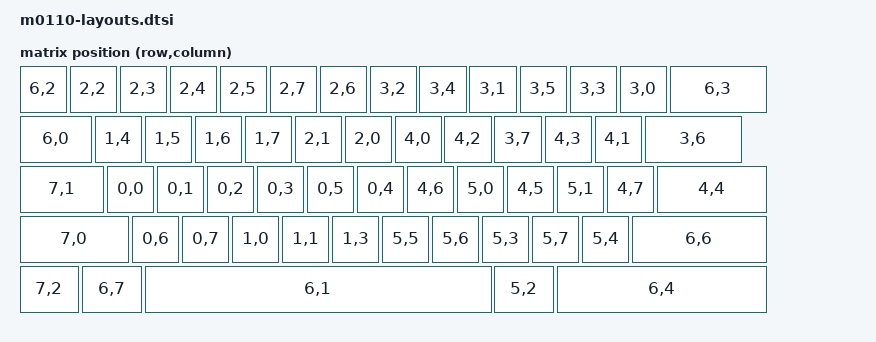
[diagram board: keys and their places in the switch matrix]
/*
 * Apple M0110 physical layout and matrix transform for ZMK Studio.
 *
 * 57 keys mapped from the M0110's scancodes to physical positions. The
 * keyboard reports 7-bit codes, and the driver spreads them over a 14-row,
 * 8-column virtual matrix; this transform picks out the main block, which is
 * everything a plain M0110 can send. 
 *
 * +---+---+---+---+---+---+---+---+---+---+---+---+---+-----+
 * | ` | 1 | 2 | 3 | 4 | 5 | 6 | 7 | 8 | 9 | 0 | - | = | bsp |
 * +---+---+---+---+---+---+---+---+---+---+---+---+---+-----+
 * |  tab  | q | w | e | r | t | y | u | i | o | p | [ | ]   |
 * +-------+---+---+---+---+---+---+---+---+---+---+---+-----+
 * |  caps  | a | s | d | f | g | h | j | k | l | ; | ' |ret |
 * +--------+---+---+---+---+---+---+---+---+---+---+---+----+
 * |  shift   | z | x | c | v | b | n | m | , | . | / | shift|
 * +----------+---+---+---+---+---+---+---+---+---+---+------+
 * | opt | cmd |          space          |  \  |    enter    |
 * +-----+-----+-------------------------+-----+-------------+
 */

#include <physical_layouts.dtsi>
#include <dt-bindings/zmk/matrix_transform.h>

/ {
    /*
     * Scancode positions come from the tables in Apple's Technical Information
     * for the Macintosh 128K/512K. RC(row, column) is scancode = row * 8 +
     * column.
     *
     * Both shift keys report 0x38 and are electrically the same.
     */
    m0110_transform: m0110_transform {
        compatible = "zmk,matrix-transform";
        rows = <14>;
        columns = <8>;

        map = <
            /* Row 0: `  1  2  3  4  5  6  7  8  9  0  -  =  Bksp */
            RC(6,2) RC(2,2) RC(2,3) RC(2,4) RC(2,5) RC(2,7) RC(2,6) RC(3,2) RC(3,4) RC(3,1) RC(3,5) RC(3,3) RC(3,0) RC(6,3)
            /* Row 1: Tab Q  W  E  R  T  Y  U  I  O  P  [  ] */
            RC(6,0) RC(1,4) RC(1,5) RC(1,6) RC(1,7) RC(2,1) RC(2,0) RC(4,0) RC(4,2) RC(3,7) RC(4,3) RC(4,1) RC(3,6)
            /* Row 2: Caps A  S  D  F  G  H  J  K  L  ;  '  Ret */
            RC(7,1) RC(0,0) RC(0,1) RC(0,2) RC(0,3) RC(0,5) RC(0,4) RC(4,6) RC(5,0) RC(4,5) RC(5,1) RC(4,7) RC(4,4)
            /* Row 3: LSh Z  X  C  V  B  N  M  ,  .  /  RSh */
            RC(7,0) RC(0,6) RC(0,7) RC(1,0) RC(1,1) RC(1,3) RC(5,5) RC(5,6) RC(5,3) RC(5,7) RC(5,4) RC(6,6)
            /* Row 4: Opt Cmd Space  \  Enter */
            RC(7,2) RC(6,7) RC(6,1) RC(5,2) RC(6,4)
        >;
    };

    m0110_layout: m0110_layout {
        compatible = "zmk,physical-layout";
        display-name = "M0110";
        transform = <&m0110_transform>;

        keys
            // Row 0: number row (14 keys)
            = <&key_physical_attrs 100 100    0    0  0 0 0>   // `
            , <&key_physical_attrs 100 100  100    0  0 0 0>   // 1
            , <&key_physical_attrs 100 100  200    0  0 0 0>   // 2
            , <&key_physical_attrs 100 100  300    0  0 0 0>   // 3
            , <&key_physical_attrs 100 100  400    0  0 0 0>   // 4
            , <&key_physical_attrs 100 100  500    0  0 0 0>   // 5
            , <&key_physical_attrs 100 100  600    0  0 0 0>   // 6
            , <&key_physical_attrs 100 100  700    0  0 0 0>   // 7
            , <&key_physical_attrs 100 100  800    0  0 0 0>   // 8
            , <&key_physical_attrs 100 100  900    0  0 0 0>   // 9
            , <&key_physical_attrs 100 100 1000    0  0 0 0>   // 0
            , <&key_physical_attrs 100 100 1100    0  0 0 0>   // -
            , <&key_physical_attrs 100 100 1200    0  0 0 0>   // =
            , <&key_physical_attrs 200 100 1300    0  0 0 0>   // Bksp

            // Row 1: QWERTY (13 keys)
            , <&key_physical_attrs 150 100    0  100  0 0 0>   // Tab
            , <&key_physical_attrs 100 100  150  100  0 0 0>   // Q
            , <&key_physical_attrs 100 100  250  100  0 0 0>   // W
            , <&key_physical_attrs 100 100  350  100  0 0 0>   // E
            , <&key_physical_attrs 100 100  450  100  0 0 0>   // R
            , <&key_physical_attrs 100 100  550  100  0 0 0>   // T
            , <&key_physical_attrs 100 100  650  100  0 0 0>   // Y
            , <&key_physical_attrs 100 100  750  100  0 0 0>   // U
            , <&key_physical_attrs 100 100  850  100  0 0 0>   // I
            , <&key_physical_attrs 100 100  950  100  0 0 0>   // O
            , <&key_physical_attrs 100 100 1050  100  0 0 0>   // P
            , <&key_physical_attrs 100 100 1150  100  0 0 0>   // [
            , <&key_physical_attrs 200 100 1250  100  0 0 0>   // ]

            // Row 2: home row (13 keys)
            , <&key_physical_attrs 175 100    0  200  0 0 0>   // Caps
            , <&key_physical_attrs 100 100  175  200  0 0 0>   // A
            , <&key_physical_attrs 100 100  275  200  0 0 0>   // S
            , <&key_physical_attrs 100 100  375  200  0 0 0>   // D
            , <&key_physical_attrs 100 100  475  200  0 0 0>   // F
            , <&key_physical_attrs 100 100  575  200  0 0 0>   // G
            , <&key_physical_attrs 100 100  675  200  0 0 0>   // H
            , <&key_physical_attrs 100 100  775  200  0 0 0>   // J
            , <&key_physical_attrs 100 100  875  200  0 0 0>   // K
            , <&key_physical_attrs 100 100  975  200  0 0 0>   // L
            , <&key_physical_attrs 100 100 1075  200  0 0 0>   // ;
            , <&key_physical_attrs 100 100 1175  200  0 0 0>   // '
            , <&key_physical_attrs 225 100 1275  200  0 0 0>   // Ret

            // Row 3: shift row (12 keys)
            , <&key_physical_attrs 225 100    0  300  0 0 0>   // LSh
            , <&key_physical_attrs 100 100  225  300  0 0 0>   // Z
            , <&key_physical_attrs 100 100  325  300  0 0 0>   // X
            , <&key_physical_attrs 100 100  425  300  0 0 0>   // C
            , <&key_physical_attrs 100 100  525  300  0 0 0>   // V
            , <&key_physical_attrs 100 100  625  300  0 0 0>   // B
            , <&key_physical_attrs 100 100  725  300  0 0 0>   // N
            , <&key_physical_attrs 100 100  825  300  0 0 0>   // M
            , <&key_physical_attrs 100 100  925  300  0 0 0>   // ,
            , <&key_physical_attrs 100 100 1025  300  0 0 0>   // .
            , <&key_physical_attrs 100 100 1125  300  0 0 0>   // /
            , <&key_physical_attrs 275 100 1225  300  0 0 0>   // RSh

            // Row 4: bottom row (5 keys)
            , <&key_physical_attrs 125 100    0  400  0 0 0>   // Opt
            , <&key_physical_attrs 125 100  125  400  0 0 0>   // Cmd
            , <&key_physical_attrs 700 100  250  400  0 0 0>   // Space
            , <&key_physical_attrs 125 100  950  400  0 0 0>   // \
            , <&key_physical_attrs 425 100 1075  400  0 0 0>   // Enter
            ;
    };
};
